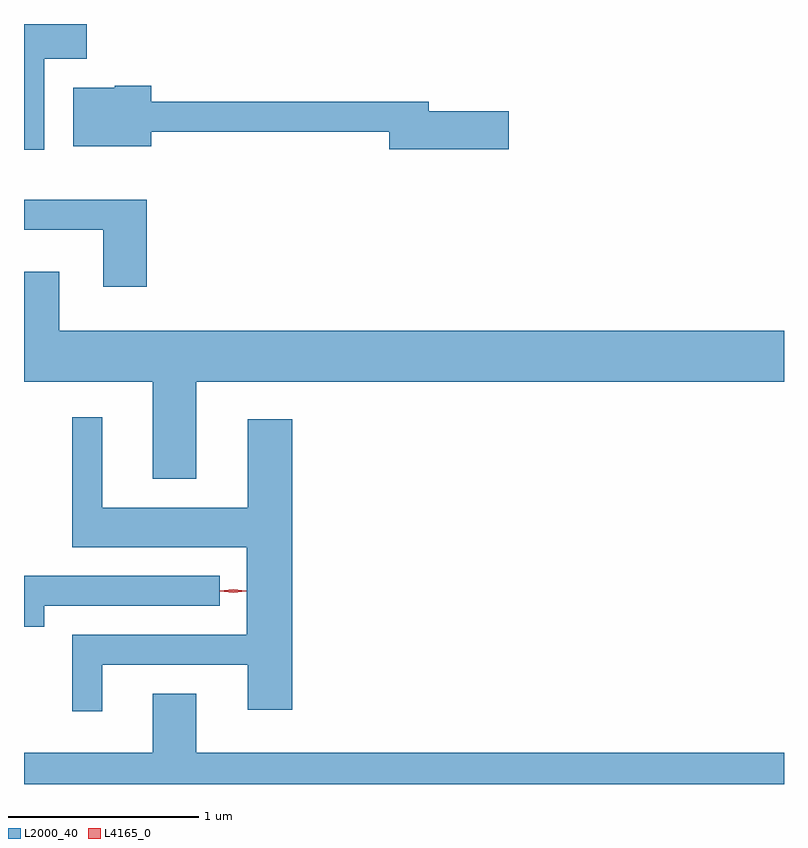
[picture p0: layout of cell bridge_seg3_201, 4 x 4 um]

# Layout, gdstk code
import gdstk
lib = gdstk.Library(unit=1e-6, precision=1e-09)
def P(c, l, *ps):  # polygons
    for p in ps: c.add(gdstk.Polygon(p, *l))
L2000_40 = (2000, 40)
L4165_0 = (4165, 0)

bridge_seg3_201 = lib.new_cell('bridge_seg3_201')
P(bridge_seg3_201, L2000_40, [(1064.079,1187.656),(1064.304,1187.656),(1064.304,1187.839),(1063.973,1187.839),(1063.973,1187.176),(1064.079,1187.176)],
  [(1066.524,1187.379),(1066.104,1187.379),(1066.104,1187.429),(1064.644,1187.429),(1064.644,1187.514),(1064.45,1187.514),(1064.45,1187.504),(1064.231,1187.504),(1064.231,1187.196),(1064.644,1187.196),(1064.644,1187.271),(1065.896,1187.271),(1065.896,1187.181),(1066.524,1187.181)],
  [(1064.619,1186.914),(1063.973,1186.914),(1063.973,1186.756),(1064.391,1186.756),(1064.391,1186.456),(1064.619,1186.456)],
  [(1064.879,1185.956),(1067.973,1185.956),(1067.973,1186.224),(1064.159,1186.224),(1064.159,1186.534),(1063.973,1186.534),(1063.973,1185.956),(1064.651,1185.956),(1064.651,1185.446),(1064.879,1185.446)],
  [(1064.384,1184.466),(1065.151,1184.466),(1065.151,1184.231),(1065.384,1184.231),(1065.384,1185.759),(1065.151,1185.759),(1065.151,1185.294),(1064.384,1185.294),(1064.384,1185.768),(1064.226,1185.768),(1064.226,1185.086),(1065.146,1185.086),(1065.146,1184.624),(1064.226,1184.624),(1064.226,1184.223),(1064.384,1184.223)],
  [(1064.079,1184.776),(1065.003,1184.776),(1065.003,1184.934),(1063.973,1184.934),(1063.973,1184.666),(1064.079,1184.666)],
  [(1067.973,1184.004),(1064.879,1184.004),(1064.879,1184.314),(1064.651,1184.314),(1064.651,1184.004),(1063.973,1184.004),(1063.973,1183.839),(1067.973,1183.839)])
P(bridge_seg3_201, L4165_0, [(1065.073,1184.845),(1065.007,1184.854),(1065.007,1184.855),(1065.007,1184.856),(1065.073,1184.865),(1065.139,1184.856),(1065.139,1184.855),(1065.139,1184.854)],
  [(1065.073,1184.845),(1065.004,1184.854),(1065.004,1184.855),(1065.004,1184.856),(1065.073,1184.865),(1065.142,1184.856),(1065.142,1184.855),(1065.142,1184.854)])

lib.write_gds('bridge_seg3_201.gds')
